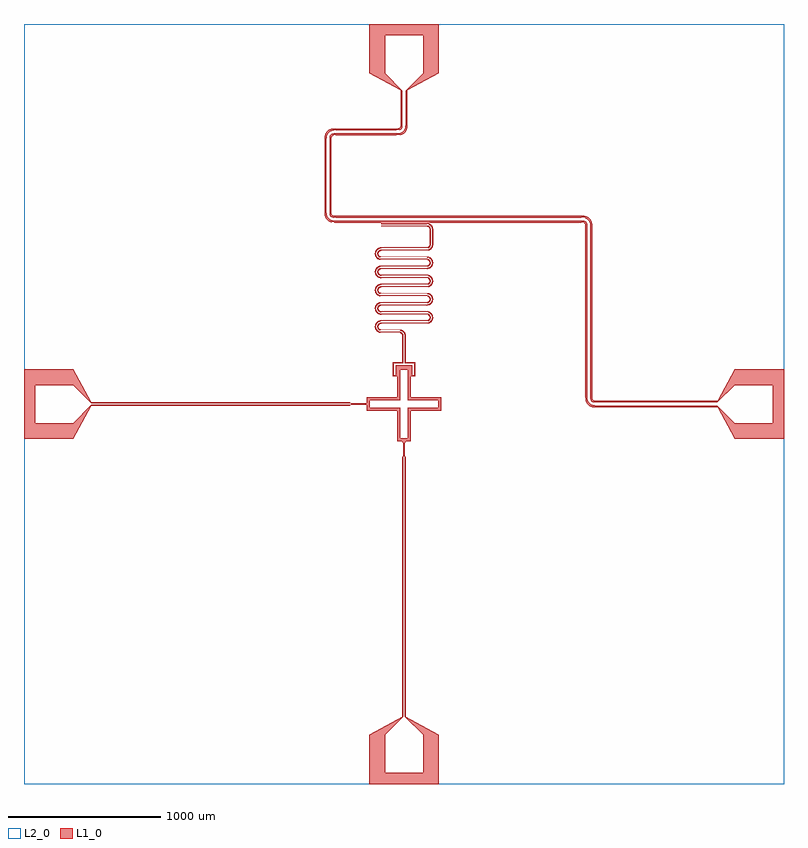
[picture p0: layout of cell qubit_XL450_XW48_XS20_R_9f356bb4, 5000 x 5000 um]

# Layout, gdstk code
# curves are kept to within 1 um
from math import pi, radians
import gdstk
lib = gdstk.Library(unit=1e-6, precision=1e-09)
def R(c, l, rs):  # rectangles x0, y0, x1, y1
    for r in rs: c.add(gdstk.rectangle(r[:2], r[2:], *l))
def P(c, l, *ps):  # polygons
    for p in ps: c.add(gdstk.Polygon(p, *l))
L1_0 = (1, 0)
L2_0 = (2, 0)

unnamed_437 = lib.new_cell('Unnamed_437')
P(unnamed_437, L1_0, [(-44,-245),(-44,-44),(-245,-44),(-245,44),(-44,44),(-44,225),(-24,225),(-24,24),(-225,24),(-225,-24),(-24,-24),(-24,-225),(24,-225),(24,-24),(225,-24),(225,24),(24,24),(24,225),(-44,225),(-44,245),(44,245),(44,44),(245,44),(245,-44),(44,-44),(44,-245)])

unnamed_438 = lib.new_cell('Unnamed_438')
P(unnamed_438, L1_0, [(139,-910),(138.997,-729.699),(138.143,-724.359),(135.819,-719.476),(129.5,-713.546),(121.506,-711.06),(-1.301,-710.981),(-9.033,-709.994),(-15.239,-708.064),(-23.25,-703.772),(-30.119,-697.82),(-34.84,-691.617),(-38.746,-683.41),(-40.749,-674.545),(-40.749,-665.455),(-39.152,-657.826),(-35.508,-649.499),(-30.119,-642.18),(-22.167,-635.507),(-12.794,-631.046),(-2.6,-629.081),(302.405,-628.846),(310.773,-625.649),(316.453,-619.499),(318.977,-610.904),(317.282,-602.108),(314.358,-597.559),(310.271,-594.017),(305.353,-591.771),(300.603,-591.011),(-0.087,-591),(-7.76,-590.26),(-16.439,-587.562),(-24.31,-583.017),(-30.987,-576.85),(-36.141,-569.364),(-39.519,-560.926),(-40.955,-551.951),(-40.378,-542.88),(-37.818,-534.159),(-31.823,-524.146),(-23.25,-516.228),(-14.023,-511.471),(-2.6,-509.081),(302.405,-508.846),(310.271,-505.983),(316.144,-500.017),(318.882,-492.106),(317.954,-483.786),(315.476,-478.98),(311.264,-474.701),(306.498,-472.147),(300.603,-471.011),(-0.087,-471),(-7.76,-470.26),(-16.439,-467.562),(-23.25,-463.772),(-30.119,-457.82),(-35.508,-450.501),(-39.152,-442.174),(-40.749,-434.545),(-40.749,-425.455),(-38.746,-416.59),(-34.137,-407.289),(-26.355,-398.591),(-16.439,-392.438),(-6.478,-389.514),(301.205,-388.96),(309.237,-386.602),(315.476,-381.02),(318.71,-373.299),(318.312,-364.937),(315.818,-359.476),(311.744,-355.066),(306.498,-352.147),(300.603,-351.011),(-0.087,-351),(-7.76,-350.26),(-16.439,-347.562),(-23.25,-343.772),(-30.119,-337.82),(-34.84,-331.617),(-38.301,-324.633),(-40.584,-315.835),(-40.955,-308.049),(-39.519,-299.074),(-34.84,-288.383),(-27.338,-279.443),(-17.622,-272.979),(-6.478,-269.514),(301.205,-268.96),(309.237,-266.602),(315.476,-261.02),(318.596,-253.891),(318.463,-245.521),(316.144,-239.983),(312.212,-235.446),(307.061,-232.362),(300.603,-231.011),(-6.478,-230.486),(-14.023,-228.529),(-22.167,-224.493),(-28.294,-219.674),(-33.399,-213.783),(-37.296,-207.033),(-39.846,-199.666),(-40.955,-191.951),(-40.378,-182.88),(-36.141,-170.636),(-28.294,-160.326),(-17.622,-152.979),(-5.19,-149.328),(300.904,-148.978),(307.061,-147.639),(312.213,-144.555),(316.301,-139.76),(318.533,-134.186),(318.914,-28.194),(317.748,-23.219),(315.3,-18.735),(311.745,-15.065),(307.061,-12.361),(299.956,-11),(0,-11),(0,-5),(304.341,-5.38),(312.155,-8.154),(318.894,-13.629),(323.209,-20.708),(324.972,-28.81),(324.846,-132.771),(323.354,-138.922),(320.592,-144.176),(316.371,-148.894),(311.456,-152.221),(306.279,-154.199),(300.397,-154.997),(-3.327,-155.158),(-14.033,-157.936),(-23.337,-163.915),(-30.851,-173.47),(-34.469,-183.922),(-34.996,-190.555),(-34.259,-197.168),(-31.838,-204.54),(-28.511,-210.302),(-23.337,-216.085),(-17.979,-220.03),(-11.971,-222.89),(-5.53,-224.561),(301.586,-225.051),(309.291,-226.791),(316.069,-230.849),(321.243,-236.82),(324.295,-244.106),(324.62,-254.341),(320.814,-263.848),(313.516,-271.031),(303.95,-274.685),(-2.22,-275.07),(-13.008,-277.507),(-22.498,-283.188),(-29.741,-291.547),(-33.735,-300.673),(-34.891,-307.226),(-34.644,-314.981),(-33.076,-321.448),(-29.741,-328.453),(-24.945,-334.552),(-18.923,-339.444),(-11.971,-342.89),(-5.53,-344.561),(301.586,-345.051),(309.291,-346.791),(315.454,-350.349),(320.814,-356.152),(324.095,-363.338),(324.971,-368.81),(324.62,-374.341),(320.814,-383.848),(313.516,-391.031),(303.95,-394.685),(-2.22,-395.07),(-11.971,-397.11),(-20.752,-401.815),(-27.852,-408.803),(-33.076,-418.552),(-34.785,-426.121),(-34.891,-432.774),(-33.422,-440.392),(-30.311,-447.5),(-26.452,-452.921),(-20.752,-458.185),(-14.033,-462.064),(-6.624,-464.368),(-0.04,-465),(301.586,-465.051),(309.291,-466.791),(315.454,-470.349),(320.364,-475.499),(323.624,-481.824),(324.845,-487.229),(324.845,-492.771),(323.624,-498.176),(321.243,-503.18),(317.817,-507.536),(313.516,-511.031),(303.95,-514.685),(-2.22,-515.07),(-11.971,-517.11),(-20.752,-521.815),(-27.166,-527.93),(-32.283,-536.478),(-34.469,-543.922),(-34.961,-551.665),(-33.735,-559.327),(-30.851,-566.53),(-26.452,-572.921),(-20.752,-578.185),(-14.033,-582.064),(-6.624,-584.368),(-0.04,-585),(300.793,-585.013),(307.043,-586.013),(313.516,-588.969),(318.893,-593.629),(322.74,-599.615),(324.62,-605.659),(324.971,-611.19),(324.095,-616.662),(322.036,-621.806),(318.893,-626.371),(314.822,-630.131),(309.291,-633.209),(303.95,-634.685),(-2.22,-635.07),(-9.861,-636.417),(-17.979,-639.97),(-24.945,-645.448),(-30.311,-652.5),(-33.422,-659.608),(-34.891,-667.226),(-34.785,-673.879),(-33.076,-681.448),(-29.741,-688.453),(-24.945,-694.552),(-18.923,-699.444),(-11.971,-702.89),(-1.11,-704.983),(122.376,-705.113),(127.801,-706.248),(132.842,-708.551),(137.252,-711.907),(140.814,-716.152),(143.872,-722.577),(144.997,-729.603),(145,-910)],
  [(155,-910),(154.983,-728.89),(153.253,-719.079),(148.829,-710.153),(144.153,-704.669),(137.979,-699.97),(130.921,-696.747),(123.879,-695.215),(0.04,-695),(-7.043,-693.987),(-12.155,-691.846),(-17.252,-688.093),(-20.814,-683.848),(-23.353,-678.922),(-24.745,-673.558),(-24.921,-668.019),(-23.872,-662.577),(-21.65,-657.5),(-17.817,-652.464),(-12.842,-648.551),(-7.043,-646.013),(-0.793,-645.013),(300.04,-645),(306.624,-644.368),(314.033,-642.064),(320.752,-638.185),(326.452,-632.921),(331.36,-625.543),(334.014,-618.252),(334.996,-610.555),(334.259,-602.832),(331.36,-594.457),(326.452,-587.079),(318.923,-580.556),(310.921,-576.747),(302.22,-575.07),(-3.95,-574.685),(-9.291,-573.209),(-14.176,-570.591),(-18.364,-566.962),(-21.65,-562.5),(-23.872,-557.423),(-24.921,-551.981),(-24.62,-545.659),(-23.058,-540.342),(-19.894,-534.86),(-14.822,-529.869),(-8.55,-526.508),(-1.586,-525.051),(300.04,-525),(306.624,-524.368),(314.033,-522.064),(320.752,-518.185),(326.452,-512.921),(330.851,-506.53),(333.735,-499.327),(334.891,-492.774),(334.644,-485.019),(332.696,-477.509),(327.852,-468.803),(320.752,-461.815),(311.971,-457.11),(302.22,-455.07),(-3.95,-454.685),(-13.516,-451.031),(-17.817,-447.536),(-21.243,-443.18),(-24.745,-433.558),(-24.921,-428.019),(-23.872,-422.577),(-20.814,-416.152),(-15.454,-410.349),(-9.291,-406.791),(-1.586,-405.051),(305.53,-404.561),(311.971,-402.89),(318.923,-399.444),(324.945,-394.552),(329.741,-388.453),(333.076,-381.448),(334.785,-373.879),(334.891,-367.226),(333.422,-359.608),(328.511,-349.698),(321.636,-342.488),(311.971,-337.11),(302.22,-335.07),(-3.95,-334.685),(-13.516,-331.031),(-20.814,-323.848),(-24.62,-314.341),(-24.971,-308.81),(-24.095,-303.338),(-20.814,-296.152),(-15.454,-290.349),(-9.291,-286.791),(-1.586,-285.051),(305.53,-284.561),(311.971,-282.89),(318.923,-279.444),(324.945,-274.552),(329.14,-269.388),(332.696,-262.491),(334.469,-256.078),(334.961,-248.335),(334.014,-241.748),(329.741,-231.547),(322.498,-223.188),(314.033,-217.936),(303.327,-215.158),(-3.95,-214.685),(-13.516,-211.031),(-20.814,-203.848),(-24.62,-194.341),(-24.469,-184.88),(-21.243,-176.82),(-16.069,-170.849),(-9.291,-166.791),(-1.586,-165.051),(300.555,-164.996),(307.711,-164.14),(314.033,-162.064),(321.636,-157.512),(327.852,-151.196),(332.283,-143.522),(334.644,-134.981),(334.561,-24.47),(330.851,-13.47),(324.153,-4.669),(315.043,1.603),(303.879,4.785),(0,5),(0,11),(303.897,10.815),(316.438,7.561),(327.819,0.119),(336.14,-10.637),(340.377,-22.88),(341,-29.956),(340.485,-136.478),(337.561,-146.438),(332.627,-154.83),(325.853,-161.822),(317.032,-167.295),(309.033,-169.993),(300.651,-170.995),(-1.205,-171.04),(-7.061,-172.362),(-12.668,-175.841),(-16.453,-180.501),(-18.596,-186.109),(-18.596,-193.891),(-15.118,-201.506),(-8.706,-206.887),(-1.205,-208.96),(306.478,-209.514),(317.622,-212.979),(327.338,-219.443),(334.84,-228.383),(339.846,-240.334),(340.955,-248.049),(340.378,-257.12),(337.818,-265.841),(334.137,-272.711),(328.294,-279.674),(322.167,-284.493),(315.239,-288.064),(307.76,-290.26),(300.087,-291),(-0.603,-291.011),(-6.498,-292.147),(-11.744,-295.066),(-15.818,-299.476),(-18.312,-304.937),(-18.71,-313.299),(-15.476,-321.02),(-9.237,-326.602),(-1.205,-328.96),(306.478,-329.514),(317.622,-332.979),(327.338,-339.443),(334.84,-348.383),(339.519,-359.074),(340.955,-368.049),(340.584,-375.835),(338.301,-384.633),(334.84,-391.617),(330.119,-397.82),(323.25,-403.772),(316.439,-407.562),(307.76,-410.26),(300.087,-411),(-0.603,-411.011),(-6.498,-412.147),(-11.264,-414.701),(-15.476,-418.98),(-17.954,-423.786),(-18.882,-432.106),(-16.144,-440.017),(-10.271,-445.983),(-3.002,-448.76),(303.897,-449.184),(315.239,-451.936),(325.345,-457.771),(333.399,-466.217),(338.746,-476.59),(340.749,-485.455),(340.749,-494.545),(339.152,-502.174),(335.508,-510.501),(330.119,-517.82),(323.25,-523.772),(316.439,-527.562),(307.76,-530.26),(300.087,-531),(-0.603,-531.011),(-5.928,-531.95),(-10.773,-534.351),(-14.746,-538.02),(-17.523,-542.66),(-18.939,-551.506),(-16.453,-559.499),(-10.773,-565.649),(-2.405,-568.846),(302.6,-569.081),(314.023,-571.471),(323.25,-576.228),(331.823,-584.146),(337.296,-592.967),(340.132,-601.603),(340.955,-611.951),(339.519,-620.926),(336.141,-629.364),(330.987,-636.85),(324.31,-643.017),(316.439,-647.562),(307.76,-650.26),(300.087,-651),(-0.603,-651.011),(-5.353,-651.771),(-9.759,-653.7),(-13.54,-656.673),(-16.453,-660.501),(-18.939,-668.494),(-17.523,-677.34),(-12.668,-684.159),(-4.771,-688.39),(124.544,-689.252),(133.41,-691.255),(141.061,-694.822),(147.819,-699.881),(153.771,-706.75),(159.151,-717.826),(161,-729.956),(161,-910)])

unnamed_444 = lib.new_cell('Unnamed_444')
P(unnamed_444, L1_0, [(-73,184),(-73,274),(-5.002,274),(-5.002,269),(-68,269),(-68,189),(-53,189),(-53,254),(53,254),(53,189),(68,189),(68,269),(4.998,269),(4.998,274),(73,274),(73,184),(48,184),(48,249),(-48,249),(-48,184)])

rectangle_s5000_5000_l2_ = lib.new_cell('rectangle_S5000_5000_L2_a41f753c')
R(rectangle_s5000_5000_l2_, L2_0, [(-2500,-2500,2500,2500)])

pad = lib.new_cell('PAD')
P(pad, L1_0, [(-245,-228),(-245,228),(78,228),(197.45,11),(245,11),(245,5),(198,5),(78,125),(-172,125),(-172,-125),(78,-125),(198,-5),(245,-5),(245,-11),(197.45,-11),(78,-228)])

bot_connector = lib.new_cell('bot-connector')
P(bot_connector, L1_0, [(-4500,-3228),(-4500,-2772),(-4177,-2772),(-4057,-2990),(-3893,-2990),(-3893,-2995),(-4057,-2995),(-4177,-2875),(-4427,-2875),(-4427,-3125),(-4177,-3125),(-4057,-3005),(-3893,-3005),(-3893,-3010),(-4057,-3010),(-4177,-3228)])

pad_big = lib.new_cell('PAD_BIG')
P(pad_big, L1_0, [(-275,-228),(-275,228),(48,228),(161.395,22),(275,22),(275,10),(163,10),(48,125),(-202,125),(-202,-125),(48,-125),(163,-10),(275,-10),(275,-22),(161.395,-22),(48,-228)])

unnamed_450 = lib.new_cell('Unnamed_450')
R(unnamed_450, L1_0, [(1266,-22,1950,-10), (1266,-22,1950,-10), (1266,10,1950,22), (1266,10,1950,22), (1194,50,1206,1166), (1226,50,1238,1166), (-450,1194,1166,1206), (-450,1226,1166,1238), (-522,1266,-510,1740), (-490,1266,-478,1740), (-450,1768,-50,1780), (-450,1800,-50,1812), (-22,1840,-10,1950), (10,1840,22,1950)])
P(unnamed_450, L1_0, [(1264.64,-22),(1248.849,-21.321),(1236.255,-18.844),(1224.953,-14.202),(1215.057,-7.425),(1206.523,1.612),(1200.23,12.077),(1196.181,23.956),(1194.267,37.665),(1193.995,1169.099),(1192.981,1181.996),(1189.308,1189.093),(1182.334,1192.901),(1169.099,1193.995),(-452.477,1194.002),(-469.304,1194.946),(-483.118,1198.258),(-499.253,1207.191),(-511.621,1220.643),(-519.015,1236.845),(-521.9,1257.238),(-521.9,1748.762),(-520.457,1762.999),(-517.061,1774.92),(-511.501,1785.539),(-503.691,1794.927),(-494.624,1802.097),(-484.318,1807.296),(-472.999,1810.457),(-459.718,1811.865),(-47.654,1812.002),(-32.363,1813.463),(-25.019,1819.006),(-22.252,1829.389),(-22,1950),(-10,1950),(-10.548,1825.827),(-12.34,1817.795),(-15.803,1811.24),(-21.085,1805.918),(-27.795,1802.34),(-46.709,1800.006),(-460.412,1799.822),(-473.957,1797.98),(-484.882,1793.89),(-494.584,1787.026),(-502.075,1778.022),(-507.98,1763.957),(-509.971,1745.646),(-509.886,1257.053),(-507.519,1240.291),(-501.701,1227.397),(-491.691,1216.511),(-478.901,1209.494),(-467.362,1206.793),(-452.03,1206.001),(1169.291,1205.994),(1186.683,1204.154),(1197.89,1197.48),(1204.066,1186.974),(1205.977,1171.085),(1206.007,46.455),(1207.832,26.837),(1213.833,12.124),(1221.798,2.624),(1232.04,-4.362),(1243.787,-8.378),(1258.068,-9.92),(1950,-10),(1950,-22)],
  [(1264.67,10),(1247.214,11.347),(1236.322,16.509),(1228.792,26.612),(1226.13,41.074),(1225.977,1171.222),(1222.618,1194.582),(1218.167,1203.876),(1212.072,1211.583),(1204.022,1218.075),(1194.582,1222.618),(1183.827,1225.144),(1170.52,1225.985),(-451.33,1226),(-471.643,1228.147),(-479.753,1232.57),(-485.819,1239.75),(-488.857,1248.144),(-489.967,1260.284),(-489.967,1745.716),(-487.946,1761.358),(-481.618,1771.754),(-471.643,1777.853),(-456.717,1779.946),(-45.899,1780.011),(-32.173,1780.856),(-21.099,1783.494),(-11.253,1788.394),(-2.74,1795.67),(3.728,1804.812),(7.778,1815.247),(9.964,1833.929),(10,1950),(22,1950),(21.974,1834.469),(20.117,1815.297),(15.396,1801.287),(7.425,1789.057),(-3.199,1779.363),(-16.082,1772.552),(-29.418,1769.132),(-45.213,1768.017),(-456.193,1767.955),(-468.135,1766.371),(-474.756,1761.332),(-477.234,1754.762),(-477.992,1743.593),(-477.978,1261.083),(-475.796,1246.467),(-472.457,1242.11),(-467.75,1239.499),(-451.319,1238),(1171.232,1237.978),(1186.582,1236.868),(1199.318,1233.67),(1210.624,1228.097),(1220.468,1220.159),(1228.097,1210.624),(1233.597,1199.518),(1236.781,1187.135),(1237.962,1172.284),(1238.001,48.036),(1238.609,36.184),(1240.831,29.307),(1247.919,23.61),(1261.92,22.012),(1950,22),(1950,10)],
  [(1264.67,10),(1247.214,11.347),(1236.322,16.509),(1228.792,26.612),(1226.13,41.074),(1225.977,1171.222),(1222.618,1194.582),(1218.167,1203.876),(1212.072,1211.583),(1204.022,1218.075),(1194.582,1222.618),(1183.827,1225.144),(1170.52,1225.985),(-451.33,1226),(-471.643,1228.147),(-479.753,1232.57),(-485.819,1239.75),(-488.857,1248.144),(-489.967,1260.284),(-489.967,1745.716),(-487.946,1761.358),(-481.618,1771.754),(-471.358,1777.946),(-456.093,1779.96),(-50,1780),(-50,1768),(-455.27,1767.973),(-467.694,1766.519),(-474.338,1761.906),(-477.134,1755.285),(-477.992,1743.593),(-477.981,1261.32),(-475.861,1246.605),(-472.61,1242.243),(-467.75,1239.499),(-451.319,1238),(1171.232,1237.978),(1186.582,1236.868),(1199.318,1233.67),(1210.624,1228.097),(1220.468,1220.159),(1228.097,1210.624),(1233.597,1199.518),(1236.781,1187.135),(1237.962,1172.284),(1238.001,48.036),(1238.609,36.184),(1240.831,29.307),(1247.919,23.61),(1261.92,22.012),(1950,22),(1950,10)],
  [(1264.64,-22),(1248.849,-21.321),(1236.255,-18.844),(1224.953,-14.202),(1215.057,-7.425),(1206.523,1.612),(1200.23,12.077),(1196.181,23.956),(1194.267,37.665),(1193.995,1169.099),(1192.981,1181.996),(1189.308,1189.093),(1182.334,1192.901),(1169.099,1193.995),(-452.477,1194.002),(-469.304,1194.946),(-483.118,1198.258),(-499.253,1207.191),(-511.621,1220.643),(-519.015,1236.845),(-521.9,1257.238),(-521.9,1748.762),(-520.457,1762.999),(-517.061,1774.92),(-511.501,1785.539),(-503.691,1794.927),(-494.624,1802.097),(-484.318,1807.296),(-472.999,1810.457),(-459.718,1811.865),(-50,1812),(-50,1800),(-462.341,1799.707),(-474.275,1797.901),(-484.269,1794.207),(-493.295,1788.176),(-500.727,1780.03),(-507.651,1765.23),(-509.964,1746.071),(-509.886,1257.053),(-507.519,1240.291),(-501.701,1227.397),(-491.691,1216.511),(-478.901,1209.494),(-467.362,1206.793),(-452.03,1206.001),(1169.291,1205.994),(1186.683,1204.154),(1197.89,1197.48),(1204.066,1186.974),(1205.977,1171.085),(1206.007,46.455),(1207.832,26.837),(1213.833,12.124),(1221.798,2.624),(1232.04,-4.362),(1243.787,-8.378),(1258.068,-9.92),(1950,-10),(1950,-22)],
  [(1264.67,10),(1247.214,11.347),(1236.322,16.509),(1228.792,26.612),(1226.13,41.074),(1225.977,1171.222),(1222.618,1194.582),(1218.167,1203.876),(1212.072,1211.583),(1204.022,1218.075),(1194.582,1222.618),(1183.827,1225.144),(1170.52,1225.985),(-451.33,1226),(-471.643,1228.147),(-479.753,1232.57),(-485.819,1239.75),(-488.857,1248.144),(-489.967,1260.284),(-489.967,1745.716),(-487.946,1761.358),(-481.618,1771.754),(-471.358,1777.946),(-456.093,1779.96),(-50,1780),(-50,1768),(-455.27,1767.973),(-467.694,1766.519),(-474.338,1761.906),(-477.134,1755.285),(-477.992,1743.593),(-477.981,1261.32),(-475.861,1246.605),(-472.61,1242.243),(-467.75,1239.499),(-451.319,1238),(1171.232,1237.978),(1186.582,1236.868),(1199.318,1233.67),(1210.624,1228.097),(1220.468,1220.159),(1228.097,1210.624),(1233.597,1199.518),(1236.781,1187.135),(1237.962,1172.284),(1238.001,48.036),(1238.609,36.184),(1240.831,29.307),(1247.919,23.61),(1261.92,22.012),(1950,22),(1950,10)],
  [(1264.64,-22),(1248.849,-21.321),(1236.255,-18.844),(1224.953,-14.202),(1215.057,-7.425),(1206.523,1.612),(1200.23,12.077),(1196.181,23.956),(1194.267,37.665),(1193.995,1169.099),(1192.981,1181.996),(1189.308,1189.093),(1182.334,1192.901),(1169.099,1193.995),(-452.477,1194.002),(-469.304,1194.946),(-483.118,1198.258),(-499.253,1207.191),(-511.621,1220.643),(-519.015,1236.845),(-521.9,1257.238),(-521.9,1748.762),(-520.457,1762.999),(-517.061,1774.92),(-511.501,1785.539),(-503.691,1794.927),(-494.624,1802.097),(-484.318,1807.296),(-472.999,1810.457),(-459.718,1811.865),(-50,1812),(-50,1800),(-462.341,1799.707),(-474.275,1797.901),(-484.269,1794.207),(-493.295,1788.176),(-500.727,1780.03),(-507.651,1765.23),(-509.964,1746.071),(-509.886,1257.053),(-507.519,1240.291),(-501.701,1227.397),(-491.691,1216.511),(-478.901,1209.494),(-467.362,1206.793),(-452.03,1206.001),(1169.291,1205.994),(1186.683,1204.154),(1197.89,1197.48),(1204.066,1186.974),(1205.977,1171.085),(1206.007,46.455),(1207.832,26.837),(1213.833,12.124),(1221.798,2.624),(1232.04,-4.362),(1243.787,-8.378),(1258.068,-9.92),(1950,-10),(1950,-22)],
  [(1264.64,-22),(1248.849,-21.321),(1236.255,-18.844),(1224.953,-14.202),(1215.057,-7.425),(1206.523,1.612),(1200.23,12.077),(1196.181,23.956),(1194.267,37.665),(1193.995,1169.099),(1192.917,1182.268),(1189.165,1189.237),(1182.268,1192.917),(1169.099,1193.995),(-452.055,1194.001),(-468.221,1194.805),(-481.128,1197.582),(-497.334,1205.744),(-509.999,1218.312),(-518.09,1233.879),(-521.654,1252.489),(-522,1740),(-510,1740),(-509.59,1252.155),(-506.618,1237.418),(-500.118,1225.132),(-489.889,1215.173),(-477.305,1208.958),(-466.13,1206.64),(-452.03,1206.001),(1169.291,1205.994),(1186.683,1204.154),(1197.618,1197.754),(1203.946,1187.358),(1205.977,1171.085),(1206.007,46.455),(1207.832,26.837),(1213.833,12.124),(1221.798,2.624),(1232.04,-4.362),(1243.787,-8.378),(1258.068,-9.92),(1950,-10),(1950,-22)],
  [(1264.67,10),(1247.214,11.347),(1236.322,16.509),(1228.792,26.612),(1226.13,41.074),(1225.977,1171.222),(1225.1,1184.137),(1222.506,1194.901),(1218.075,1204.022),(1211.583,1212.072),(1203.435,1218.44),(1194.103,1222.781),(1170.101,1225.989),(-451.33,1226),(-470.974,1227.934),(-479.07,1232.034),(-485.175,1238.674),(-488.58,1246.908),(-489.9,1257.804),(-490,1740),(-478,1740),(-477.96,1260.035),(-475.592,1246.059),(-472.224,1241.914),(-467.404,1239.391),(-451.319,1238),(1170.787,1237.983),(1185.849,1236.977),(1198.719,1233.884),(1210.255,1228.331),(1220.159,1220.468),(1227.979,1210.808),(1233.597,1199.518),(1236.781,1187.135),(1237.962,1172.284),(1238.001,48.036),(1238.609,36.184),(1240.831,29.307),(1247.919,23.61),(1261.92,22.012),(1950,22),(1950,10)],
  [(1264.64,-22),(1248.849,-21.321),(1236.255,-18.844),(1224.953,-14.202),(1215.057,-7.425),(1206.523,1.612),(1200.23,12.077),(1196.181,23.956),(1194.267,37.665),(1193.995,1169.099),(1192.917,1182.268),(1189.165,1189.237),(1182.268,1192.917),(1169.099,1193.995),(-452.055,1194.001),(-468.221,1194.805),(-481.128,1197.582),(-497.334,1205.744),(-509.999,1218.312),(-518.09,1233.879),(-521.654,1252.489),(-522,1740),(-510,1740),(-509.59,1252.155),(-506.618,1237.418),(-500.118,1225.132),(-489.889,1215.173),(-477.305,1208.958),(-466.13,1206.64),(-452.03,1206.001),(1169.291,1205.994),(1186.683,1204.154),(1197.618,1197.754),(1203.946,1187.358),(1205.977,1171.085),(1206.007,46.455),(1207.832,26.837),(1213.833,12.124),(1221.798,2.624),(1232.04,-4.362),(1243.787,-8.378),(1258.068,-9.92),(1950,-10),(1950,-22)],
  [(1264.67,10),(1247.214,11.347),(1236.322,16.509),(1228.792,26.612),(1226.13,41.074),(1225.977,1171.222),(1225.1,1184.137),(1222.506,1194.901),(1218.075,1204.022),(1211.583,1212.072),(1203.435,1218.44),(1194.103,1222.781),(1170.101,1225.989),(-451.33,1226),(-470.974,1227.934),(-479.07,1232.034),(-485.175,1238.674),(-488.58,1246.908),(-489.9,1257.804),(-490,1740),(-478,1740),(-477.96,1260.035),(-475.592,1246.059),(-472.224,1241.914),(-467.404,1239.391),(-451.319,1238),(1170.787,1237.983),(1185.849,1236.977),(1198.719,1233.884),(1210.255,1228.331),(1220.159,1220.468),(1227.979,1210.808),(1233.597,1199.518),(1236.781,1187.135),(1237.962,1172.284),(1238.001,48.036),(1238.609,36.184),(1240.831,29.307),(1247.919,23.61),(1261.92,22.012),(1950,22),(1950,10)],
  [(1264.64,-22),(1248.849,-21.321),(1236.255,-18.844),(1225.338,-14.408),(1215.391,-7.707),(1206.789,1.264),(1200.23,12.077),(1196.226,23.764),(1194.288,37.331),(1193.995,1169.099),(1192.609,1183.404),(1187.539,1190.61),(1180.532,1193.275),(1167.964,1193.999),(-450,1194),(-450,1206),(1168.381,1205.998),(1184.168,1204.791),(1194.526,1200.366),(1199.731,1195.375),(1203.352,1189.029),(1205.967,1171.716),(1206.007,46.455),(1207.832,26.837),(1213.833,12.124),(1221.798,2.624),(1232.04,-4.362),(1243.787,-8.378),(1258.068,-9.92),(1950,-10),(1950,-22)],
  [(1264.67,10),(1247.214,11.347),(1236.322,16.509),(1228.903,26.345),(1226.141,40.833),(1225.964,1172.071),(1224.719,1186.48),(1221.101,1198.399),(1214.951,1208.367),(1206.17,1216.627),(1190.275,1223.901),(1169.545,1225.993),(-450,1226),(-450,1238),(1170.493,1237.986),(1194.567,1235.179),(1213.157,1226.383),(1223.847,1216.441),(1231.77,1203.923),(1236.274,1189.942),(1237.947,1173.047),(1238.001,48.036),(1238.609,36.184),(1240.831,29.307),(1247.919,23.61),(1261.92,22.012),(1950,22),(1950,10)],
  [(1264.64,-22),(1248.849,-21.321),(1236.255,-18.844),(1225.338,-14.408),(1215.391,-7.707),(1206.789,1.264),(1200.23,12.077),(1196.226,23.764),(1194.288,37.331),(1193.995,1169.099),(1192.609,1183.404),(1187.539,1190.61),(1180.532,1193.275),(1167.964,1193.999),(-450,1194),(-450,1206),(1168.381,1205.998),(1184.168,1204.791),(1194.526,1200.366),(1199.731,1195.375),(1203.352,1189.029),(1205.967,1171.716),(1206.007,46.455),(1207.832,26.837),(1213.833,12.124),(1221.798,2.624),(1232.04,-4.362),(1243.787,-8.378),(1258.068,-9.92),(1950,-10),(1950,-22)],
  [(1264.67,10),(1247.214,11.347),(1236.322,16.509),(1228.903,26.345),(1226.141,40.833),(1225.964,1172.071),(1224.719,1186.48),(1221.101,1198.399),(1214.951,1208.367),(1206.17,1216.627),(1190.275,1223.901),(1169.545,1225.993),(-450,1226),(-450,1238),(1170.493,1237.986),(1194.567,1235.179),(1213.157,1226.383),(1223.847,1216.441),(1231.77,1203.923),(1236.274,1189.942),(1237.947,1173.047),(1238.001,48.036),(1238.609,36.184),(1240.831,29.307),(1247.919,23.61),(1261.92,22.012),(1950,22),(1950,10)],
  [(1264.64,-22),(1248.849,-21.321),(1236.255,-18.844),(1224.953,-14.202),(1215.057,-7.425),(1206.523,1.612),(1200.139,12.275),(1196.181,23.956),(1194.247,37.998),(1194,1166),(1206,1166),(1206.007,46.455),(1207.906,26.519),(1214.111,11.687),(1222.055,2.393),(1232.04,-4.362),(1243.787,-8.378),(1258.068,-9.92),(1950,-10),(1950,-22)],
  [(1264.67,10),(1247.214,11.347),(1236.098,16.692),(1228.648,26.971),(1226.091,42.048),(1226,1166),(1238,1166),(1238.002,47.654),(1238.672,35.782),(1241.019,29.006),(1248.027,23.573),(1261.92,22.012),(1950,22),(1950,10)],
  [(1264.64,-22),(1248.849,-21.321),(1236.255,-18.844),(1224.953,-14.202),(1215.057,-7.425),(1206.523,1.612),(1200.139,12.275),(1196.181,23.956),(1194.247,37.998),(1194,1166),(1206,1166),(1206.007,46.455),(1207.906,26.519),(1214.111,11.687),(1222.055,2.393),(1232.04,-4.362),(1243.787,-8.378),(1258.068,-9.92),(1950,-10),(1950,-22)],
  [(1264.67,10),(1247.214,11.347),(1236.098,16.692),(1228.648,26.971),(1226.091,42.048),(1226,1166),(1238,1166),(1238.002,47.654),(1238.672,35.782),(1241.019,29.006),(1248.027,23.573),(1261.92,22.012),(1950,22),(1950,10)])

drive_xmon = lib.new_cell('drive_xmon')
P(drive_xmon, L1_0, [(-66.75,-11),(-66.75,-5),(-40.25,-5),(-29.75,-2.5),(63.75,-2.5),(63.75,2.5),(-29.75,2.5),(-40.25,5),(-66.75,5),(-66.75,11),(-40.25,11),(-29.75,5.5),(66.75,5.5),(66.75,-5.5),(-29.75,-5.5),(-40.25,-11)])

unnamed_454 = lib.new_cell('Unnamed_454')
R(unnamed_454, L1_0, [(-2010,-11,-382.5,-5), (-2010,5,-382.5,11)])

flux_xmon = lib.new_cell('flux-xmon')
P(flux_xmon, L1_0, [(-11,-61.5),(-11,-41.5),(-5,-31.5),(-5,53.5),(-6,53.5),(-6,55.5),(-3,55.5),(-3,-31.5),(-6,-41.5),(-6,-61.5)],
  [(4,-61.5),(4,-41.5),(1,-31.5),(1,59.5),(-12,59.5),(-12,61.5),(12,61.5),(12,59.5),(3,59.5),(3,-31.5),(9,-41.5),(9,-61.5)])

unnamed_458 = lib.new_cell('Unnamed_458')
R(unnamed_458, L1_0, [(-10,-1893,-5,-371), (5,-1893,10,-371)])

qubit_xl450_xw48_xs20_r_ = lib.new_cell('qubit_XL450_XW48_XS20_R_9f356bb4')
qubit_xl450_xw48_xs20_r_.add(gdstk.Reference(unnamed_437, (0,0)))
qubit_xl450_xw48_xs20_r_.add(gdstk.Reference(unnamed_438, (-150.002,1179)))
qubit_xl450_xw48_xs20_r_.add(gdstk.Reference(unnamed_444, (0,0)))
qubit_xl450_xw48_xs20_r_.add(gdstk.Reference(rectangle_s5000_5000_l2_, (0,0)))
qubit_xl450_xw48_xs20_r_.add(gdstk.Reference(pad, (-2255,0)))
qubit_xl450_xw48_xs20_r_.add(gdstk.Reference(bot_connector, (-3000,2000), rotation=pi/2))
qubit_xl450_xw48_xs20_r_.add(gdstk.Reference(pad_big, (0,2225), rotation=3*pi/2))
qubit_xl450_xw48_xs20_r_.add(gdstk.Reference(pad_big, (2225,0), rotation=pi))
qubit_xl450_xw48_xs20_r_.add(gdstk.Reference(unnamed_450, (0,0)))
qubit_xl450_xw48_xs20_r_.add(gdstk.Reference(drive_xmon, (-315.75,0)))
qubit_xl450_xw48_xs20_r_.add(gdstk.Reference(unnamed_454, (0,0)))
qubit_xl450_xw48_xs20_r_.add(gdstk.Reference(flux_xmon, (1,-309.5)))
qubit_xl450_xw48_xs20_r_.add(gdstk.Reference(unnamed_458, (0,0)))

lib.write_gds('qubit_XL450_XW48_XS20_R_9f356bb4.gds')
